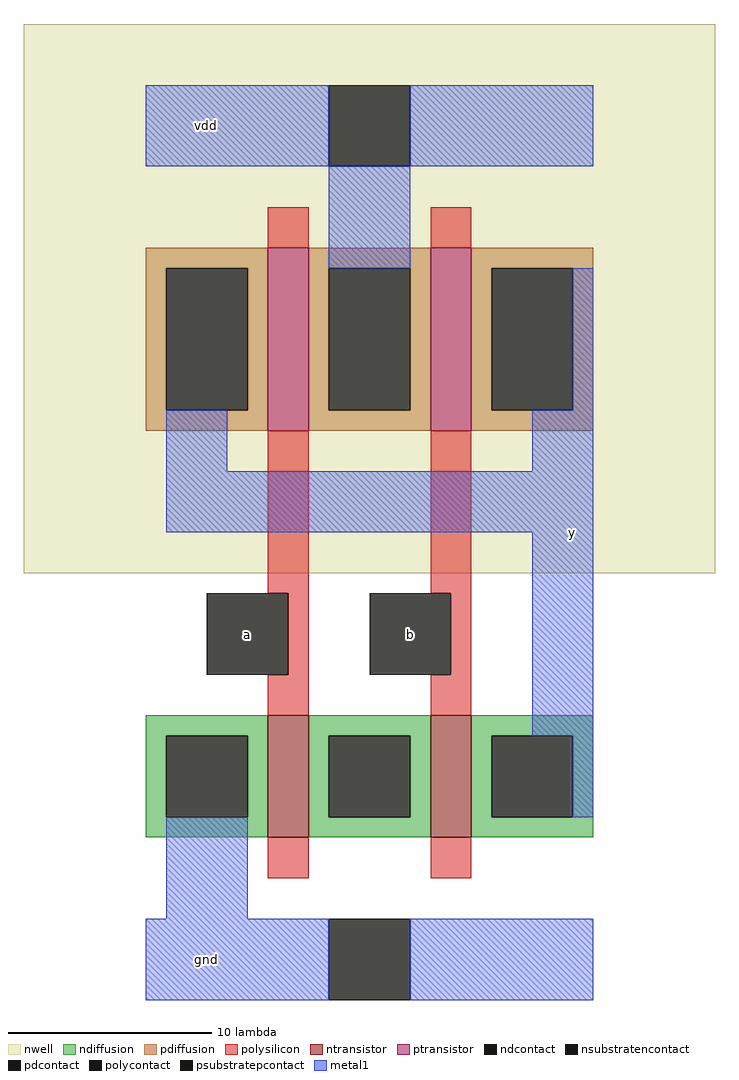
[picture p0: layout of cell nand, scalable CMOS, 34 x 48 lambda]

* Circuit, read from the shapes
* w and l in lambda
.subckt nand a b gnd vdd y
M1 n1 a gnd gnd nfet w=6 l=2
M2 y b n1 gnd nfet w=6 l=2
M3 vdd a y vdd pfet w=9 l=2
M4 y b vdd vdd pfet w=9 l=2
.ends

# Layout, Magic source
magic
tech scmos
<< nwell >>
rect -17 -7 17 20
<< ntransistor >>
rect -5 -20 -3 -14
rect 3 -20 5 -14
<< ptransistor >>
rect -5 0 -3 9
rect 3 0 5 9
<< ndiffusion >>
rect -11 -15 -5 -14
rect -11 -19 -10 -15
rect -6 -19 -5 -15
rect -11 -20 -5 -19
rect -3 -15 3 -14
rect -3 -19 -2 -15
rect 2 -19 3 -15
rect -3 -20 3 -19
rect 5 -15 11 -14
rect 5 -19 6 -15
rect 10 -19 11 -15
rect 5 -20 11 -19
<< pdiffusion >>
rect -11 8 -5 9
rect -11 1 -10 8
rect -6 1 -5 8
rect -11 0 -5 1
rect -3 8 3 9
rect -3 1 -2 8
rect 2 1 3 8
rect -3 0 3 1
rect 5 8 11 9
rect 5 1 6 8
rect 10 1 11 8
rect 5 0 11 1
<< ndcontact >>
rect -10 -19 -6 -15
rect -2 -19 2 -15
rect 6 -19 10 -15
<< pdcontact >>
rect -10 1 -6 8
rect -2 1 2 8
rect 6 1 10 8
<< psubstratepcontact >>
rect -2 -28 2 -24
<< nsubstratencontact >>
rect -2 13 2 17
<< polysilicon >>
rect -5 9 -3 11
rect 3 9 5 11
rect -5 -8 -3 0
rect 3 -8 5 0
rect -4 -12 -3 -8
rect 4 -12 5 -8
rect -5 -14 -3 -12
rect 3 -14 5 -12
rect -5 -22 -3 -20
rect 3 -22 5 -20
<< polycontact >>
rect -8 -12 -4 -8
rect 0 -12 4 -8
<< metal1 >>
rect -11 13 -2 17
rect 2 13 11 17
rect -2 8 2 13
rect 10 1 11 8
rect -10 -2 -7 1
rect 8 -2 11 1
rect -10 -5 11 -2
rect 8 -15 11 -5
rect 10 -19 11 -15
rect -10 -24 -6 -19
rect -11 -28 -2 -24
rect 2 -28 11 -24
<< labels >>
rlabel metal1 -8 -26 -8 -26 1 gnd
rlabel metal1 10 -5 10 -5 1 y
rlabel metal1 -8 15 -8 15 5 vdd
rlabel polycontact -6 -10 -6 -10 1 a
rlabel polycontact 2 -10 2 -10 1 b
<< end >>
